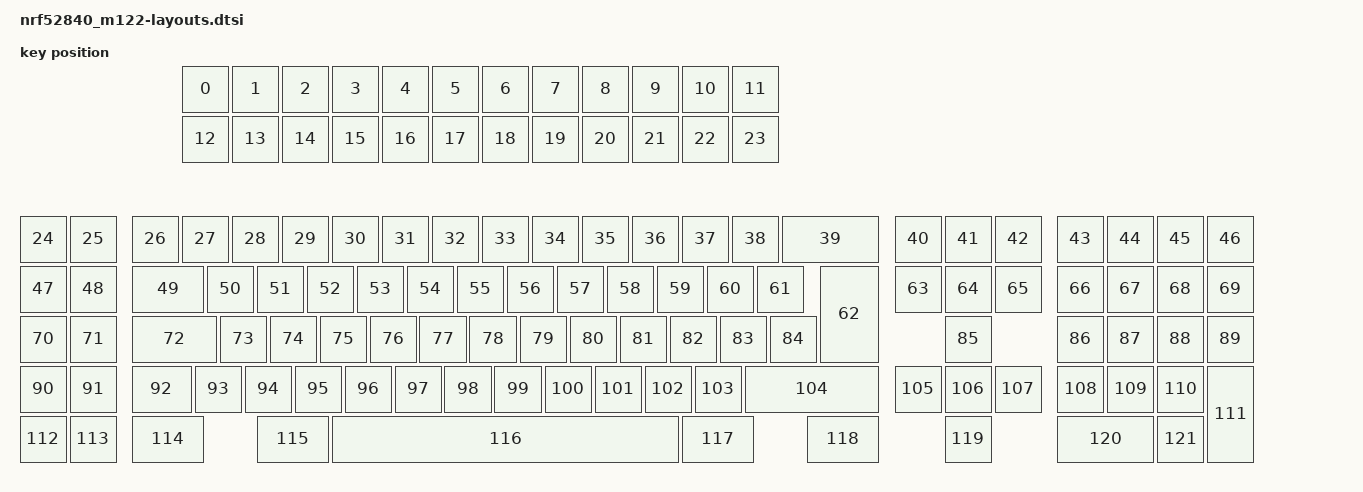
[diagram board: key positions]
#include <physical_layouts.dtsi>

/ {
    physical_layout0: physical_layout_0 {
        compatible = "zmk,physical-layout";
        display-name = "IBM M122";

        kscan = <&kscan0>;
        transform = <&matrix_transform0>;

        keys  //                     w   h    x    y     rot    rx    ry
            = <&key_physical_attrs 100 100  325    0       0     0     0>
            , <&key_physical_attrs 100 100  425    0       0     0     0>
            , <&key_physical_attrs 100 100  525    0       0     0     0>
            , <&key_physical_attrs 100 100  625    0       0     0     0>
            , <&key_physical_attrs 100 100  725    0       0     0     0>
            , <&key_physical_attrs 100 100  825    0       0     0     0>
            , <&key_physical_attrs 100 100  925    0       0     0     0>
            , <&key_physical_attrs 100 100 1025    0       0     0     0>
            , <&key_physical_attrs 100 100 1125    0       0     0     0>
            , <&key_physical_attrs 100 100 1225    0       0     0     0>
            , <&key_physical_attrs 100 100 1325    0       0     0     0>
            , <&key_physical_attrs 100 100 1425    0       0     0     0>
            , <&key_physical_attrs 100 100  325  100       0     0     0>
            , <&key_physical_attrs 100 100  425  100       0     0     0>
            , <&key_physical_attrs 100 100  525  100       0     0     0>
            , <&key_physical_attrs 100 100  625  100       0     0     0>
            , <&key_physical_attrs 100 100  725  100       0     0     0>
            , <&key_physical_attrs 100 100  825  100       0     0     0>
            , <&key_physical_attrs 100 100  925  100       0     0     0>
            , <&key_physical_attrs 100 100 1025  100       0     0     0>
            , <&key_physical_attrs 100 100 1125  100       0     0     0>
            , <&key_physical_attrs 100 100 1225  100       0     0     0>
            , <&key_physical_attrs 100 100 1325  100       0     0     0>
            , <&key_physical_attrs 100 100 1425  100       0     0     0>
            , <&key_physical_attrs 100 100    0  300       0     0     0>
            , <&key_physical_attrs 100 100  100  300       0     0     0>
            , <&key_physical_attrs 100 100  225  300       0     0     0>
            , <&key_physical_attrs 100 100  325  300       0     0     0>
            , <&key_physical_attrs 100 100  425  300       0     0     0>
            , <&key_physical_attrs 100 100  525  300       0     0     0>
            , <&key_physical_attrs 100 100  625  300       0     0     0>
            , <&key_physical_attrs 100 100  725  300       0     0     0>
            , <&key_physical_attrs 100 100  825  300       0     0     0>
            , <&key_physical_attrs 100 100  925  300       0     0     0>
            , <&key_physical_attrs 100 100 1025  300       0     0     0>
            , <&key_physical_attrs 100 100 1125  300       0     0     0>
            , <&key_physical_attrs 100 100 1225  300       0     0     0>
            , <&key_physical_attrs 100 100 1325  300       0     0     0>
            , <&key_physical_attrs 100 100 1425  300       0     0     0>
            , <&key_physical_attrs 200 100 1525  300       0     0     0>
            , <&key_physical_attrs 100 100 1750  300       0     0     0>
            , <&key_physical_attrs 100 100 1850  300       0     0     0>
            , <&key_physical_attrs 100 100 1950  300       0     0     0>
            , <&key_physical_attrs 100 100 2075  300       0     0     0>
            , <&key_physical_attrs 100 100 2175  300       0     0     0>
            , <&key_physical_attrs 100 100 2275  300       0     0     0>
            , <&key_physical_attrs 100 100 2375  300       0     0     0>
            , <&key_physical_attrs 100 100    0  400       0     0     0>
            , <&key_physical_attrs 100 100  100  400       0     0     0>
            , <&key_physical_attrs 150 100  225  400       0     0     0>
            , <&key_physical_attrs 100 100  375  400       0     0     0>
            , <&key_physical_attrs 100 100  475  400       0     0     0>
            , <&key_physical_attrs 100 100  575  400       0     0     0>
            , <&key_physical_attrs 100 100  675  400       0     0     0>
            , <&key_physical_attrs 100 100  775  400       0     0     0>
            , <&key_physical_attrs 100 100  875  400       0     0     0>
            , <&key_physical_attrs 100 100  975  400       0     0     0>
            , <&key_physical_attrs 100 100 1075  400       0     0     0>
            , <&key_physical_attrs 100 100 1175  400       0     0     0>
            , <&key_physical_attrs 100 100 1275  400       0     0     0>
            , <&key_physical_attrs 100 100 1375  400       0     0     0>
            , <&key_physical_attrs 100 100 1475  400       0     0     0>
            , <&key_physical_attrs 125 200 1600  400       0     0     0>
            , <&key_physical_attrs 100 100 1750  400       0     0     0>
            , <&key_physical_attrs 100 100 1850  400       0     0     0>
            , <&key_physical_attrs 100 100 1950  400       0     0     0>
            , <&key_physical_attrs 100 100 2075  400       0     0     0>
            , <&key_physical_attrs 100 100 2175  400       0     0     0>
            , <&key_physical_attrs 100 100 2275  400       0     0     0>
            , <&key_physical_attrs 100 100 2375  400       0     0     0>
            , <&key_physical_attrs 100 100    0  500       0     0     0>
            , <&key_physical_attrs 100 100  100  500       0     0     0>
            , <&key_physical_attrs 175 100  225  500       0     0     0>
            , <&key_physical_attrs 100 100  400  500       0     0     0>
            , <&key_physical_attrs 100 100  500  500       0     0     0>
            , <&key_physical_attrs 100 100  600  500       0     0     0>
            , <&key_physical_attrs 100 100  700  500       0     0     0>
            , <&key_physical_attrs 100 100  800  500       0     0     0>
            , <&key_physical_attrs 100 100  900  500       0     0     0>
            , <&key_physical_attrs 100 100 1000  500       0     0     0>
            , <&key_physical_attrs 100 100 1100  500       0     0     0>
            , <&key_physical_attrs 100 100 1200  500       0     0     0>
            , <&key_physical_attrs 100 100 1300  500       0     0     0>
            , <&key_physical_attrs 100 100 1400  500       0     0     0>
            , <&key_physical_attrs 100 100 1500  500       0     0     0>
            , <&key_physical_attrs 100 100 1850  500       0     0     0>
            , <&key_physical_attrs 100 100 2075  500       0     0     0>
            , <&key_physical_attrs 100 100 2175  500       0     0     0>
            , <&key_physical_attrs 100 100 2275  500       0     0     0>
            , <&key_physical_attrs 100 100 2375  500       0     0     0>
            , <&key_physical_attrs 100 100    0  600       0     0     0>
            , <&key_physical_attrs 100 100  100  600       0     0     0>
            , <&key_physical_attrs 125 100  225  600       0     0     0>
            , <&key_physical_attrs 100 100  350  600       0     0     0>
            , <&key_physical_attrs 100 100  450  600       0     0     0>
            , <&key_physical_attrs 100 100  550  600       0     0     0>
            , <&key_physical_attrs 100 100  650  600       0     0     0>
            , <&key_physical_attrs 100 100  750  600       0     0     0>
            , <&key_physical_attrs 100 100  850  600       0     0     0>
            , <&key_physical_attrs 100 100  950  600       0     0     0>
            , <&key_physical_attrs 100 100 1050  600       0     0     0>
            , <&key_physical_attrs 100 100 1150  600       0     0     0>
            , <&key_physical_attrs 100 100 1250  600       0     0     0>
            , <&key_physical_attrs 100 100 1350  600       0     0     0>
            , <&key_physical_attrs 275 100 1450  600       0     0     0>
            , <&key_physical_attrs 100 100 1750  600       0     0     0>
            , <&key_physical_attrs 100 100 1850  600       0     0     0>
            , <&key_physical_attrs 100 100 1950  600       0     0     0>
            , <&key_physical_attrs 100 100 2075  600       0     0     0>
            , <&key_physical_attrs 100 100 2175  600       0     0     0>
            , <&key_physical_attrs 100 100 2275  600       0     0     0>
            , <&key_physical_attrs 100 200 2375  600       0     0     0>
            , <&key_physical_attrs 100 100    0  700       0     0     0>
            , <&key_physical_attrs 100 100  100  700       0     0     0>
            , <&key_physical_attrs 150 100  225  700       0     0     0>
            , <&key_physical_attrs 150 100  475  700       0     0     0>
            , <&key_physical_attrs 700 100  625  700       0     0     0>
            , <&key_physical_attrs 150 100 1325  700       0     0     0>
            , <&key_physical_attrs 150 100 1575  700       0     0     0>
            , <&key_physical_attrs 100 100 1850  700       0     0     0>
            , <&key_physical_attrs 200 100 2075  700       0     0     0>
            , <&key_physical_attrs 100 100 2275  700       0     0     0>
            ;
    };

    position_map {
        compatible = "zmk,physical-layout-position-map";

        physical_layout0 {
            physical-layout = <&physical_layout0>;
            positions = <>;
        };
    };
};
